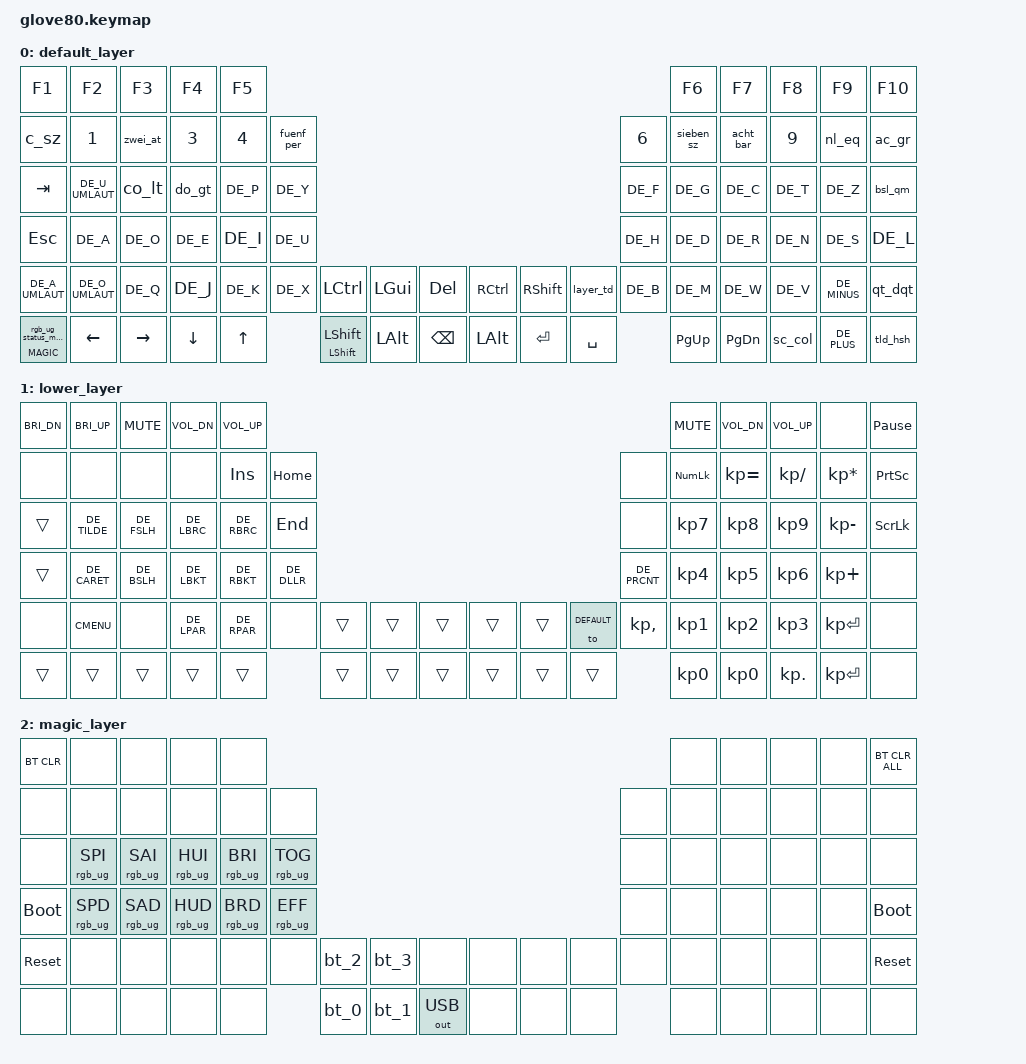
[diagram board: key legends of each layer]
/*
 * Copyright (c) 2020 The ZMK Contributors
 *
 * SPDX-License-Identifier: MIT
 */

#include <behaviors.dtsi>
#include <dt-bindings/zmk/keys.h>
#include <dt-bindings/zmk/bt.h>
#include <dt-bindings/zmk/ext_power.h>
#include <dt-bindings/zmk/outputs.h>
#include <dt-bindings/zmk/rgb.h>

#include "keys_de.h"

#define HYPER LC(LS(LG(LALT)))

// Umlauts
#define DE_AUML DE_A_UMLAUT
#define DE_OUML DE_O_UMLAUT
#define DE_UUML DE_U_UMLAUT

// layers
#define DEFAULT 0
#define LOWER 1
#define MAGIC 2

// Macro for shift-morphed key
#define SHIFTED_RAW(name, normal, shifted)           \
	name: name ## _behaviour {                         \
		compatible = "zmk,behavior-mod-morph";           \
		#binding-cells = <0>;                            \
		bindings = <normal>, <shifted>;                  \
		mods = <(MOD_LSFT|MOD_RSFT)>;                    \
	};

// Macro for shift-morphed key with &kp's
#define SHIFTED(name, normal, shifted) SHIFTED_RAW(name, &kp normal, &kp shifted)

// Macro for shift-number keys which do not morph if alt is pressed
#define SHIFTED_WO_ALT(name, normal, shifted)        \
	name ## _inner: name ## _inner_behaviour {         \
		compatible = "zmk,behavior-mod-morph";           \
		#binding-cells = <0>;                            \
		bindings = <&kp normal>, <&kp shifted>;          \
		mods = <(MOD_LSFT|MOD_RSFT)>;                    \
	};                                                 \
	                                                   \
	name: name ## _behaviour{                          \
		compatible = "zmk,behavior-mod-morph";           \
		#binding-cells = <0>;                            \
		bindings = <&name ## _inner>, <&kp normal>;      \
		mods = <(MOD_LALT|MOD_RALT)>;                    \
		keep-mods = <(MOD_LALT|MOD_RALT)>;               \
	};


&sk {
    release-after-ms = <250>;
    quick-release;
};

/ {

    behaviors {
        // For the "layer" key, it'd nice to be able to use it as either a shift or a toggle.
        // Configure it as a tap dance, so the first tap (or hold) is a &mo and the second tap is a &to
        layer_td: tap_dance_0 {
            compatible = "zmk,behavior-tap-dance";
            #binding-cells = <0>;
            tapping-term-ms = <200>;
            bindings = <&mo LOWER>, <&to LOWER>;
        };

        magic: magic_hold_tap {
            compatible = "zmk,behavior-hold-tap";
            #binding-cells = <2>;
            flavor = "tap-preferred";
            tapping-term-ms = <200>;
            bindings = <&mo>, <&rgb_ug_status_macro>;
        };

        ssk: smart_sticky_key {
            compatible = "zmk,behavior-hold-tap";
            #binding-cells = <2>;
            tapping-term-ms = <250>;
            hold-while-undecided;
            hold-while-undecided-linger;
            bindings = <&kp>, <&sk>;
        };

        grave_dance: grave_dance_behaviour {
            compatible = "zmk,behavior-tap-dance";
            #binding-cells = <0>;
            tapping-term-ms = <200>;
            bindings = <&kp RA(DE_GRAVE)>, <&kp DE_GRAVE>, <&triple_grave>;
        };

        SHIFTED_RAW( ac_gr, &kp RA(DE_ACUTE), &grave_dance )

        SHIFTED( c_sz, DE_CARET, DE_SZ )
        SHIFTED( co_lt, DE_COMMA, DE_LESS_THAN )
        SHIFTED( do_gt, DE_DOT, DE_GREATER_THAN )
        SHIFTED( sc_col, DE_SEMICOLON, DE_COLON )
        SHIFTED( qt_dqt, DE_SINGLE_QUOTE, DE_DOUBLE_QUOTES )
        SHIFTED( bsl_qm, DE_BACKSLASH, DE_QUESTION )
        SHIFTED( tld_hsh, DE_TILDE, DE_HASH )

        // Ugly work-around for rolling over "shift+<+="
        SHIFTED( nl_eq, DE_N0, DE_EQUAL )
        SHIFTED( fuenf_per, DE_N5, DE_PERCENT )

        SHIFTED_WO_ALT( zwei_at,   DE_N2, DE_AT )
        SHIFTED_WO_ALT( sieben_sz, DE_N7, DE_SZ )
        SHIFTED_WO_ALT( acht_bar,  DE_N8, DE_PIPE )

    };

    macros {
        rgb_ug_status_macro: rgb_ug_status_macro_0 {
            compatible = "zmk,behavior-macro";
            #binding-cells = <0>;
            bindings
                = <&rgb_ug RGB_STATUS>;
        };

        bt_0: bt_profile_macro_0 {
            compatible = "zmk,behavior-macro";
            #binding-cells = <0>;
            bindings
                = <&out OUT_BLE>,
                  <&bt BT_SEL 0>;
        };

        bt_1: bt_profile_macro_1 {
            compatible = "zmk,behavior-macro";
            #binding-cells = <0>;
            bindings
                = <&out OUT_BLE>,
                  <&bt BT_SEL 1>;
        };

        bt_2: bt_profile_macro_2 {
            compatible = "zmk,behavior-macro";
            #binding-cells = <0>;
            bindings
                = <&out OUT_BLE>,
                  <&bt BT_SEL 2>;
        };

        bt_3: bt_profile_macro_3 {
            compatible = "zmk,behavior-macro";
            #binding-cells = <0>;
            bindings
                = <&out OUT_BLE>,
                  <&bt BT_SEL 3>;
        };

        triple_grave: triple_grave_behaviour {
            compatible = "zmk,behavior-macro";
            #binding-cells = <0>;
            bindings = <&macro_tap &kp DE_GRAVE &kp DE_GRAVE &kp DE_GRAVE>;
        };
    };

    keymap {
        compatible = "zmk,keymap";

        default_layer {
            // ---------------------------------------------------------------------------------------------------------------------------------
            // |  F1   |  F2 |  F3 |  F4  |  F5  |                                                               |  F6   |  F7   |  F8  |   F9  |  F10 |
            // |  ^ß   |  1  |  2  |  3   |  4   |  5   |                                                 |  6   |   7   |   8   |  9   |   0   |  ´`  |
            // |  TAB  |  Ü  |  ,< |  .>  |  P   |  Y   |                                                 |  F   |   G   |   C   |  T   |   Z   |  \?` | 
            // |  ESC  |  A  |  O  |  E   |  I   |  U   |                                                 |  H   |   D   |   R   |  N   |   S   |   L  |
            // |   Ä   |  Ö  |  Q  |  J   |  K   |  X   | LCTRL | LGUI  | DEL   | | RCTRL | RSHFT | LOWER |  B   |   M   |   W   |  V   |   -_  |  '"  |
            // | MAGIC | LEFT|RIGHT| DOWN |  UP  |      | LSHFT | LALT  | BSPC  | | LALT  | RET   | SPACE |      |  PGUP | PGDN  |  ;:  |   +*  |  ~#  |

            bindings = <
            &kp F1         &kp F2       &kp F3      &kp F4       &kp F5                                                                                               &kp F6     &kp F7       &kp F8        &kp F9          &kp F10
            &c_sz          &kp N1       &zwei_at    &kp N3       &kp N4    &fuenf_per                                                                    &kp N6       &sieben_sz &acht_bar    &kp N9        &nl_eq          &ac_gr
            &kp TAB        &kp DE_UUML  &co_lt      &do_gt       &kp DE_P  &kp DE_Y                                                                      &kp DE_F     &kp DE_G   &kp DE_C     &kp DE_T      &kp DE_Z        &bsl_qm
            &kp ESC        &kp DE_A     &kp DE_O    &kp DE_E     &kp DE_I  &kp DE_U                                                                      &kp DE_H     &kp DE_D   &kp DE_R     &kp DE_N      &kp DE_S        &kp DE_L
            &kp DE_AUML    &kp DE_OUML  &kp DE_Q    &kp DE_J     &kp DE_K  &kp DE_X &kp LCTRL        &kp LGUI  &kp DEL     &kp RCTRL &kp RSHFT &layer_td &kp DE_B     &kp DE_M   &kp DE_W     &kp DE_V      &kp DE_MINUS    &qt_dqt
            &magic MAGIC 0 &kp LEFT     &kp RIGHT   &kp DOWN     &kp UP             &ssk LSHFT LSHFT &kp LALT  &kp BSPC    &kp LALT  &kp RET   &kp SPACE              &kp PG_UP  &kp PG_DN    &sc_col       &kp DE_PLUS     &tld_hsh
            >;
        };

        lower_layer {
            bindings = <
            &kp C_BRI_DN   &kp C_BRI_UP &kp C_MUTE  &kp C_VOL_DN &kp C_VOL_UP                                                                                        &kp C_MUTE &kp C_VOL_DN &kp C_VOL_UP  &none           &kp PAUSE_BREAK
            &none          &none        &none       &none        &kp INS      &kp HOME                                                                  &none        &kp KP_NUM &kp KP_EQUAL &kp KP_DIVIDE &kp KP_MULTIPLY &kp PSCRN
            &trans         &kp DE_TILDE &kp DE_FSLH &kp DE_LBRC  &kp DE_RBRC  &kp END                                                                   &none        &kp KP_N7  &kp KP_N8    &kp KP_N9     &kp KP_MINUS    &kp SLCK
            &trans         &kp DE_CARET &kp DE_BSLH &kp DE_LBKT  &kp DE_RBKT  &kp DE_DLLR                                                               &kp DE_PRCNT &kp KP_N4  &kp KP_N5    &kp KP_N6     &kp KP_PLUS     &none
            &none          &kp K_CMENU  &none       &kp DE_LPAR  &kp DE_RPAR  &none       &trans    &trans    &trans   &trans    &trans    &to DEFAULT  &kp KP_COMMA &kp KP_N1  &kp KP_N2    &kp KP_N3     &kp KP_ENTER    &none
            &trans         &trans       &trans      &trans       &trans                   &trans    &trans    &trans   &trans    &trans    &trans                    &kp KP_N0  &kp KP_N0    &kp KP_DOT    &kp KP_ENTER    &none
            >;
        };

        magic_layer {
            bindings = <
            &bt BT_CLR   &none           &none           &none           &none                                                                                  &none  &none  &none &none &bt BT_CLR_ALL
            &none        &none           &none           &none           &none           &none                                                           &none  &none  &none  &none &none &none
            &none        &rgb_ug RGB_SPI &rgb_ug RGB_SAI &rgb_ug RGB_HUI &rgb_ug RGB_BRI &rgb_ug RGB_TOG                                                 &none  &none  &none  &none &none &none
            &bootloader  &rgb_ug RGB_SPD &rgb_ug RGB_SAD &rgb_ug RGB_HUD &rgb_ug RGB_BRD &rgb_ug RGB_EFF                                                 &none  &none  &none  &none &none &bootloader
            &sys_reset   &none           &none           &none           &none           &none           &bt_2  &bt_3 &none        &none  &none  &none   &none  &none  &none  &none &none &sys_reset
            &none        &none           &none           &none           &none                           &bt_0  &bt_1 &out OUT_USB &none  &none  &none          &none  &none  &none &none &none
            >;
        };
    };
};
